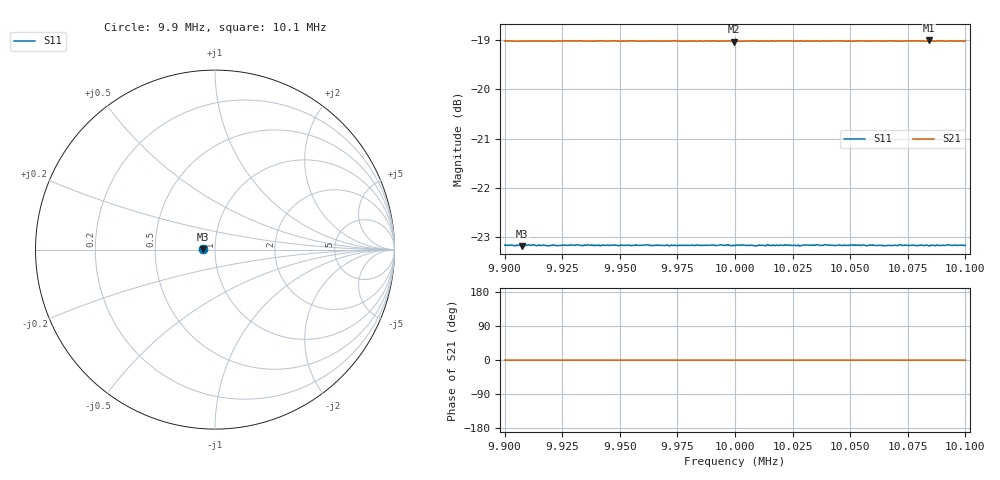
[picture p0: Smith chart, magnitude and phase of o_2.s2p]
! NanoVNA-App
! Date: 2026-10-13 22:17:26
! Start: 9,9MHz Stop: 10,1MHz Points: 401
! S-Parameter data: F S11 S21 S12 S22
# Hz S RI R 50
!  Frequency  S11_Real  S11_Imag  S21_Real  S21_Imag  S12_Real  S12_Imag  S22_Real  S22_Imag
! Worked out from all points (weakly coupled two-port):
!   401 points, 9.9 MHz to 10.1 MHz, reference 50 ohm
!   highest |S21| = -19.01 dB at 10.084 MHz (marker M1); lowest = -19.0 dB at 9.9995 MHz (marker M2)
!   lowest |S11| = -23.2 dB at 9.9075 MHz (marker M3), VSWR 1.15, Z = 43.5 + j0.339 ohm
!   |S11| at or under -10 dB: start of sweep to end of sweep
!   S12 and S22 are empty: the file has one direction only
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9900000  -0.0694 0.00393  0.1118 -0.000607  0 0  0 0
9907500  -0.0692 0.00387  0.1119 -0.000577  0 0  0 0
9911500  -0.0694 0.00402  0.1118 -0.000594  0 0  0 0
9919000  -0.0693 0.00398  0.1119 -0.000587  0 0  0 0
9921000  -0.0695 0.00394  0.1118 -0.000626  0 0  0 0
9933500  -0.0694 0.00392  0.1119 -0.000626  0 0  0 0
9935500  -0.0694 0.004  0.1119 -0.00061  0 0  0 0
9955500  -0.0694 0.00389  0.1119 -0.000561  0 0  0 0
9961500  -0.0694 0.00388  0.1119 -0.000677  0 0  0 0
9964000  -0.0693 0.00396  0.1119 -0.00063  0 0  0 0
9967000  -0.0693 0.00391  0.1119 -0.000573  0 0  0 0
9990000  -0.0695 0.00395  0.112 -0.000617  0 0  0 0
9999500  -0.0694 0.00389  0.1117 -0.000683  0 0  0 0
1e7  -0.0693 0.00401  0.1118 -0.000616  0 0  0 0
1.0009e7  -0.0693 0.00389  0.1119 -0.000625  0 0  0 0
1.00115e7  -0.0694 0.00389  0.1119 -0.000691  0 0  0 0
1.00225e7  -0.0694 0.00398  0.1119 -0.000628  0 0  0 0
1.0028e7  -0.0693 0.00384  0.1118 -0.000632  0 0  0 0
1.00335e7  -0.0694 0.00386  0.1119 -0.000656  0 0  0 0
1.0067e7  -0.0694 0.00393  0.1119 -0.00069  0 0  0 0
1.0084e7  -0.0693 0.00395  0.112 -0.00064  0 0  0 0
1.01e7  -0.0694 0.00395  0.1119 -0.000662  0 0  0 0
